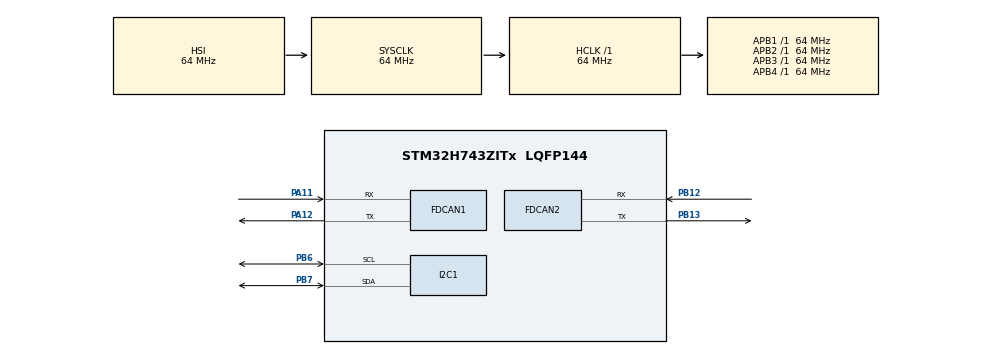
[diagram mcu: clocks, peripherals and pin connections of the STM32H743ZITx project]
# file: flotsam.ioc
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FREERTOS.Queues01=myQueue01,16,uint32_t,0,Static,myQueue01Buffer,myQueue01ControlBlock
FREERTOS.Tasks01=defaultTask,24,128,StartDefaultTask,Default,NULL,Dynamic,NULL,NULL
Mcu.Family=STM32H7
Mcu.Name=STM32H743ZITx
Mcu.Package=LQFP144
NVIC.PriorityGroup=NVIC_PRIORITYGROUP_4
NVIC.TIM1_UP_IRQn=true\:0\:0\:false\:false\:true\:false\:false\:true
NVIC.TimeBase=TIM1_UP_IRQn
NVIC.TimeBaseIP=TIM1
PA11.Mode=FDCANFD
PA11.Signal=FDCAN1_RX
PA12.Mode=FDCANFD
PA12.Signal=FDCAN1_TX
PB12.Mode=FDCANFD
PB12.Signal=FDCAN2_RX
PB13.Mode=FDCANFD
PB13.Signal=FDCAN2_TX
PB6.Mode=I2C
PB6.Signal=I2C1_SCL
PB7.Mode=I2C
PB7.Signal=I2C1_SDA
ProjectManager.HeapSize=0x200
ProjectManager.StackSize=0x400
ProjectManager.TargetToolchain=SW4STM32
RCC.ADCFreq_Value=129000000
RCC.APB1Freq_Value=64000000
RCC.APB2Freq_Value=64000000
RCC.APB3Freq_Value=64000000
RCC.APB4Freq_Value=64000000
RCC.CortexFreq_Value=64000000
RCC.HCLKFreq_Value=64000000
RCC.SYSCLKFreq_VALUE=64000000
RCC.USBFreq_Value=129000000
VP_CRC_VS_CRC.Mode=CRC_Activate
VP_FREERTOS_VS_CMSIS_V2.Mode=CMSIS_V2
VP_RNG_VS_RNG.Mode=RNG_Activate
VP_SYS_VS_tim1.Mode=TIM1
board=custom

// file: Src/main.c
/* USER CODE BEGIN Header */
/**
  ******************************************************************************
  * @file           : main.c
  * @brief          : Main program body
  ******************************************************************************
  * @attention
  *
  * <h2><center>&copy; Copyright (c) 2020 STMicroelectronics.
  * All rights reserved.</center></h2>
  *
  * This software component is licensed by ST under Ultimate Liberty license
  * SLA0044, the "License"; You may not use this file except in compliance with
  * the License. You may obtain a copy of the License at:
  *                             www.st.com/SLA0044
  *
  ******************************************************************************
  */
/* USER CODE END Header */

#include "main.h"
#include "cmsis_os.h"

typedef StaticQueue_t osStaticMessageQDef_t;

CRC_HandleTypeDef hcrc;

FDCAN_HandleTypeDef hfdcan1;
FDCAN_HandleTypeDef hfdcan2;

I2C_HandleTypeDef hi2c1;

RNG_HandleTypeDef hrng;

/* Definitions for defaultTask */
osThreadId_t defaultTaskHandle;
const osThreadAttr_t defaultTask_attributes = {
  .name = "defaultTask",
  .priority = (osPriority_t) osPriorityNormal,
  .stack_size = 128
};
/* Definitions for myQueue01 */
osMessageQueueId_t myQueue01Handle;
uint8_t myQueue01Buffer[ 16 * sizeof( uint32_t ) ];
osStaticMessageQDef_t myQueue01ControlBlock;
const osMessageQueueAttr_t myQueue01_attributes = {
  .name = "myQueue01",
  .cb_mem = &myQueue01ControlBlock,
  .cb_size = sizeof(myQueue01ControlBlock),
  .mq_mem = &myQueue01Buffer,
  .mq_size = sizeof(myQueue01Buffer)
};

void SystemClock_Config(void);
static void MX_GPIO_Init(void);
static void MX_CRC_Init(void);
static void MX_FDCAN1_Init(void);
static void MX_FDCAN2_Init(void);
static void MX_I2C1_Init(void);
static void MX_RNG_Init(void);
void StartDefaultTask(void *argument);

/* USER CODE BEGIN PFP */
static void configure_user_leds(void);

/* USER CODE END PFP */

/* USER CODE BEGIN 0 */

static void configure_user_leds(void)
{
  BSP_LED_Init(LED1);
  BSP_LED_Init(LED2);
  BSP_LED_Init(LED3);
}

/* USER CODE END 0 */

int main(void)
{

  /* MCU Configuration--------------------------------------------------------*/

  /* Reset of all peripherals, Initializes the Flash interface and the Systick. */
  HAL_Init();

  /* Configure the system clock */
  SystemClock_Config();

  /* Initialize all configured peripherals */
  MX_GPIO_Init();
  MX_CRC_Init();
  MX_FDCAN1_Init();
  MX_FDCAN2_Init();
  MX_I2C1_Init();
  MX_RNG_Init();
  /* USER CODE BEGIN 2 */

  configure_user_leds();

  /* Configure the User Button in EXTI Mode */
  BSP_PB_Init(BUTTON_USER, BUTTON_MODE_EXTI);

  /* USER CODE END 2 */
  /* Init scheduler */
  osKernelInitialize();

  /* Create the queue(s) */
  /* creation of myQueue01 */
  myQueue01Handle = osMessageQueueNew (16, sizeof(uint32_t), &myQueue01_attributes);

  /* Create the thread(s) */
  /* creation of defaultTask */
  defaultTaskHandle = osThreadNew(StartDefaultTask, NULL, &defaultTask_attributes);

  /* Start scheduler */
  osKernelStart();

  /* We should never get here as control is now taken by the scheduler */

  /* Infinite loop */
  while (1)
  {

  }
}

void SystemClock_Config(void)
{
  RCC_OscInitTypeDef RCC_OscInitStruct = {0};
  RCC_ClkInitTypeDef RCC_ClkInitStruct = {0};
  RCC_PeriphCLKInitTypeDef PeriphClkInitStruct = {0};

  /** Supply configuration update enable
  */
  HAL_PWREx_ConfigSupply(PWR_LDO_SUPPLY);
  /** Configure the main internal regulator output voltage
  */
  __HAL_PWR_VOLTAGESCALING_CONFIG(PWR_REGULATOR_VOLTAGE_SCALE3);

  while(!__HAL_PWR_GET_FLAG(PWR_FLAG_VOSRDY)) {}
  /** Initializes the CPU, AHB and APB busses clocks
  */
  RCC_OscInitStruct.OscillatorType = RCC_OSCILLATORTYPE_HSI48|RCC_OSCILLATORTYPE_HSI;
  RCC_OscInitStruct.HSIState = RCC_HSI_DIV1;
  RCC_OscInitStruct.HSICalibrationValue = RCC_HSICALIBRATION_DEFAULT;
  RCC_OscInitStruct.HSI48State = RCC_HSI48_ON;
  RCC_OscInitStruct.PLL.PLLState = RCC_PLL_ON;
  RCC_OscInitStruct.PLL.PLLSource = RCC_PLLSOURCE_HSI;
  RCC_OscInitStruct.PLL.PLLM = 32;
  RCC_OscInitStruct.PLL.PLLN = 129;
  RCC_OscInitStruct.PLL.PLLP = 2;
  RCC_OscInitStruct.PLL.PLLQ = 2;
  RCC_OscInitStruct.PLL.PLLR = 2;
  RCC_OscInitStruct.PLL.PLLRGE = RCC_PLL1VCIRANGE_1;
  RCC_OscInitStruct.PLL.PLLVCOSEL = RCC_PLL1VCOWIDE;
  RCC_OscInitStruct.PLL.PLLFRACN = 0;
  if (HAL_RCC_OscConfig(&RCC_OscInitStruct) != HAL_OK)
  {
    Error_Handler();
  }
  /** Initializes the CPU, AHB and APB busses clocks
  */
  RCC_ClkInitStruct.ClockType = RCC_CLOCKTYPE_HCLK|RCC_CLOCKTYPE_SYSCLK
                              |RCC_CLOCKTYPE_PCLK1|RCC_CLOCKTYPE_PCLK2
                              |RCC_CLOCKTYPE_D3PCLK1|RCC_CLOCKTYPE_D1PCLK1;
  RCC_ClkInitStruct.SYSCLKSource = RCC_SYSCLKSOURCE_HSI;
  RCC_ClkInitStruct.SYSCLKDivider = RCC_SYSCLK_DIV1;
  RCC_ClkInitStruct.AHBCLKDivider = RCC_HCLK_DIV1;
  RCC_ClkInitStruct.APB3CLKDivider = RCC_APB3_DIV1;
  RCC_ClkInitStruct.APB1CLKDivider = RCC_APB1_DIV1;
  RCC_ClkInitStruct.APB2CLKDivider = RCC_APB2_DIV1;
  RCC_ClkInitStruct.APB4CLKDivider = RCC_APB4_DIV1;

  if (HAL_RCC_ClockConfig(&RCC_ClkInitStruct, FLASH_LATENCY_0) != HAL_OK)
  {
    Error_Handler();
  }
  PeriphClkInitStruct.PeriphClockSelection = RCC_PERIPHCLK_FDCAN|RCC_PERIPHCLK_RNG
                              |RCC_PERIPHCLK_I2C1;
  PeriphClkInitStruct.FdcanClockSelection = RCC_FDCANCLKSOURCE_PLL;
  PeriphClkInitStruct.RngClockSelection = RCC_RNGCLKSOURCE_HSI48;
  PeriphClkInitStruct.I2c123ClockSelection = RCC_I2C123CLKSOURCE_D2PCLK1;
  if (HAL_RCCEx_PeriphCLKConfig(&PeriphClkInitStruct) != HAL_OK)
  {
    Error_Handler();
  }
}

static void MX_CRC_Init(void)
{

  hcrc.Instance = CRC;
  hcrc.Init.DefaultPolynomialUse = DEFAULT_POLYNOMIAL_ENABLE;
  hcrc.Init.DefaultInitValueUse = DEFAULT_INIT_VALUE_ENABLE;
  hcrc.Init.InputDataInversionMode = CRC_INPUTDATA_INVERSION_NONE;
  hcrc.Init.OutputDataInversionMode = CRC_OUTPUTDATA_INVERSION_DISABLE;
  hcrc.InputDataFormat = CRC_INPUTDATA_FORMAT_BYTES;
  if (HAL_CRC_Init(&hcrc) != HAL_OK)
  {
    Error_Handler();
  }

}

static void MX_FDCAN1_Init(void)
{

  hfdcan1.Instance = FDCAN1;
  hfdcan1.Init.FrameFormat = FDCAN_FRAME_FD_NO_BRS;
  hfdcan1.Init.Mode = FDCAN_MODE_NORMAL;
  hfdcan1.Init.AutoRetransmission = DISABLE;
  hfdcan1.Init.TransmitPause = DISABLE;
  hfdcan1.Init.ProtocolException = DISABLE;
  hfdcan1.Init.NominalPrescaler = 1;
  hfdcan1.Init.NominalSyncJumpWidth = 1;
  hfdcan1.Init.NominalTimeSeg1 = 2;
  hfdcan1.Init.NominalTimeSeg2 = 2;
  hfdcan1.Init.DataPrescaler = 1;
  hfdcan1.Init.DataSyncJumpWidth = 1;
  hfdcan1.Init.DataTimeSeg1 = 1;
  hfdcan1.Init.DataTimeSeg2 = 1;
  hfdcan1.Init.MessageRAMOffset = 0;
  hfdcan1.Init.StdFiltersNbr = 0;
  hfdcan1.Init.ExtFiltersNbr = 0;
  hfdcan1.Init.RxFifo0ElmtsNbr = 0;
  hfdcan1.Init.RxFifo0ElmtSize = FDCAN_DATA_BYTES_8;
  hfdcan1.Init.RxFifo1ElmtsNbr = 0;
  hfdcan1.Init.RxFifo1ElmtSize = FDCAN_DATA_BYTES_8;
  hfdcan1.Init.RxBuffersNbr = 0;
  hfdcan1.Init.RxBufferSize = FDCAN_DATA_BYTES_8;
  hfdcan1.Init.TxEventsNbr = 0;
  hfdcan1.Init.TxBuffersNbr = 0;
  hfdcan1.Init.TxFifoQueueElmtsNbr = 0;
  hfdcan1.Init.TxFifoQueueMode = FDCAN_TX_FIFO_OPERATION;
  hfdcan1.Init.TxElmtSize = FDCAN_DATA_BYTES_8;
  if (HAL_FDCAN_Init(&hfdcan1) != HAL_OK)
  {
    Error_Handler();
  }

}

static void MX_FDCAN2_Init(void)
{

  hfdcan2.Instance = FDCAN2;
  hfdcan2.Init.FrameFormat = FDCAN_FRAME_FD_NO_BRS;
  hfdcan2.Init.Mode = FDCAN_MODE_NORMAL;
  hfdcan2.Init.AutoRetransmission = DISABLE;
  hfdcan2.Init.TransmitPause = DISABLE;
  hfdcan2.Init.ProtocolException = DISABLE;
  hfdcan2.Init.NominalPrescaler = 1;
  hfdcan2.Init.NominalSyncJumpWidth = 1;
  hfdcan2.Init.NominalTimeSeg1 = 2;
  hfdcan2.Init.NominalTimeSeg2 = 2;
  hfdcan2.Init.DataPrescaler = 1;
  hfdcan2.Init.DataSyncJumpWidth = 1;
  hfdcan2.Init.DataTimeSeg1 = 1;
  hfdcan2.Init.DataTimeSeg2 = 1;
  hfdcan2.Init.MessageRAMOffset = 0;
  hfdcan2.Init.StdFiltersNbr = 0;
  hfdcan2.Init.ExtFiltersNbr = 0;
  hfdcan2.Init.RxFifo0ElmtsNbr = 0;
  hfdcan2.Init.RxFifo0ElmtSize = FDCAN_DATA_BYTES_8;
  hfdcan2.Init.RxFifo1ElmtsNbr = 0;
  hfdcan2.Init.RxFifo1ElmtSize = FDCAN_DATA_BYTES_8;
  hfdcan2.Init.RxBuffersNbr = 0;
  hfdcan2.Init.RxBufferSize = FDCAN_DATA_BYTES_8;
  hfdcan2.Init.TxEventsNbr = 0;
  hfdcan2.Init.TxBuffersNbr = 0;
  hfdcan2.Init.TxFifoQueueElmtsNbr = 0;
  hfdcan2.Init.TxFifoQueueMode = FDCAN_TX_FIFO_OPERATION;
  hfdcan2.Init.TxElmtSize = FDCAN_DATA_BYTES_8;
  if (HAL_FDCAN_Init(&hfdcan2) != HAL_OK)
  {
    Error_Handler();
  }

}

static void MX_I2C1_Init(void)
{

  hi2c1.Instance = I2C1;
  hi2c1.Init.Timing = 0x10707DBC;
  hi2c1.Init.OwnAddress1 = 0;
  hi2c1.Init.AddressingMode = I2C_ADDRESSINGMODE_7BIT;
  hi2c1.Init.DualAddressMode = I2C_DUALADDRESS_DISABLE;
  hi2c1.Init.OwnAddress2 = 0;
  hi2c1.Init.OwnAddress2Masks = I2C_OA2_NOMASK;
  hi2c1.Init.GeneralCallMode = I2C_GENERALCALL_DISABLE;
  hi2c1.Init.NoStretchMode = I2C_NOSTRETCH_DISABLE;
  if (HAL_I2C_Init(&hi2c1) != HAL_OK)
  {
    Error_Handler();
  }
  /** Configure Analogue filter
  */
  if (HAL_I2CEx_ConfigAnalogFilter(&hi2c1, I2C_ANALOGFILTER_ENABLE) != HAL_OK)
  {
    Error_Handler();
  }
  /** Configure Digital filter
  */
  if (HAL_I2CEx_ConfigDigitalFilter(&hi2c1, 0) != HAL_OK)
  {
    Error_Handler();
  }

}

static void MX_RNG_Init(void)
{

  hrng.Instance = RNG;
  hrng.Init.ClockErrorDetection = RNG_CED_ENABLE;
  if (HAL_RNG_Init(&hrng) != HAL_OK)
  {
    Error_Handler();
  }

}

static void MX_GPIO_Init(void)
{

  /* GPIO Ports Clock Enable */
  __HAL_RCC_GPIOB_CLK_ENABLE();
  __HAL_RCC_GPIOA_CLK_ENABLE();

}

/* USER CODE BEGIN 4 */

static void LED1_blink_cb (void *argument)
{
  BSP_LED_Toggle(LED1);
}

static void LED2_blink_cb (void *argument)
{
  BSP_LED_Toggle(LED2);
}

static void LED3_blink_cb (void *argument)
{
  BSP_LED_Toggle(LED3);
}
/* USER CODE END 4 */

void StartDefaultTask(void *argument)
{
  /* USER CODE BEGIN 5 */
  const uint32_t ticks_per_sec = osKernelGetTickFreq();
  const uint32_t loop_delay = 5 * ticks_per_sec;
  osTimerId_t periodic1_id, periodic2_id, periodic3_id;
  periodic1_id = osTimerNew(LED1_blink_cb, osTimerPeriodic, (void *) 5, NULL);
  osTimerStart(periodic1_id, ticks_per_sec);
  periodic2_id = osTimerNew(LED2_blink_cb, osTimerPeriodic, (void *) 5, NULL); // (void*)5 is passed as an argument
  osTimerStart(periodic2_id, ticks_per_sec / 2);
  periodic3_id = osTimerNew(LED3_blink_cb, osTimerPeriodic, (void *) 5, NULL); // (void*)5 is passed as an argument

  osDelay(loop_delay);

  osTimerStop(periodic2_id);
  osTimerDelete(periodic2_id);
  osTimerStart(periodic3_id, ticks_per_sec / 2);

  /* Infinite loop */
  for(;;) {
    osDelay(loop_delay);
  }
  osTimerStop(periodic1_id);
  osTimerDelete(periodic1_id);
  osTimerStop(periodic3_id);

  /* USER CODE END 5 */
}

void HAL_TIM_PeriodElapsedCallback(TIM_HandleTypeDef *htim)
{
  if (htim->Instance == TIM1) {
    HAL_IncTick();
  }
}

void Error_Handler(void)
{
}

/************************ (C) COPYRIGHT STMicroelectronics *****END OF FILE****/
